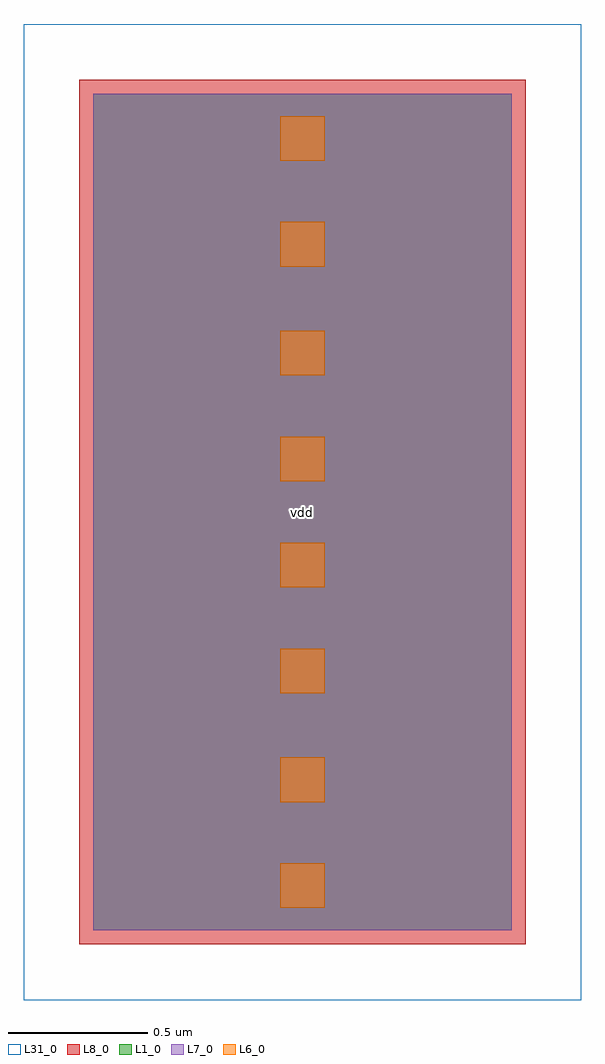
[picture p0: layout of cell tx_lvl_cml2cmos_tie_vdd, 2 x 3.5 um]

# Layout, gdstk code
import gdstk
lib = gdstk.Library(unit=1e-6, precision=1e-09)
def R(c, l, rs):  # rectangles x0, y0, x1, y1
    for r in rs: c.add(gdstk.rectangle(r[:2], r[2:], *l))
def A(c, l, x, y, w, h, nx, ny, dx, dy):  # array of equal rectangles
    R(c, l, [(x+i*dx, y+j*dy, x+i*dx+w, y+j*dy+h) for i in range(nx) for j in range(ny)])
L1_0 = (1, 0)
L6_0 = (6, 0)
L7_0 = (7, 0)
L8_0 = (8, 0)
L31_0 = (31, 0)

tx_lvl_cml2cmos_tie_vdd = lib.new_cell('tx_lvl_cml2cmos_tie_vdd')
R(tx_lvl_cml2cmos_tie_vdd, L1_0, [(0,0,1.5,3)])
A(tx_lvl_cml2cmos_tie_vdd, L6_0, 0.67, 0.85, 0.16, 0.16, 1, 4, 0, 0.38)
R(tx_lvl_cml2cmos_tie_vdd, L6_0, [(0.67,0.08,0.83,0.24), (0.67,0.46,0.83,0.62), (0.67,2.38,0.83,2.54), (0.67,2.76,0.83,2.92)])
R(tx_lvl_cml2cmos_tie_vdd, L7_0, [(0,0,1.5,3)])
R(tx_lvl_cml2cmos_tie_vdd, L8_0, [(-0.05,-0.05,1.55,3.05)])
R(tx_lvl_cml2cmos_tie_vdd, L31_0, [(-0.25,-0.25,1.75,3.25)])
tx_lvl_cml2cmos_tie_vdd.add(gdstk.Label('vdd', (0.75,1.5), layer=8, texttype=25))

lib.write_gds('tx_lvl_cml2cmos_tie_vdd.gds')
